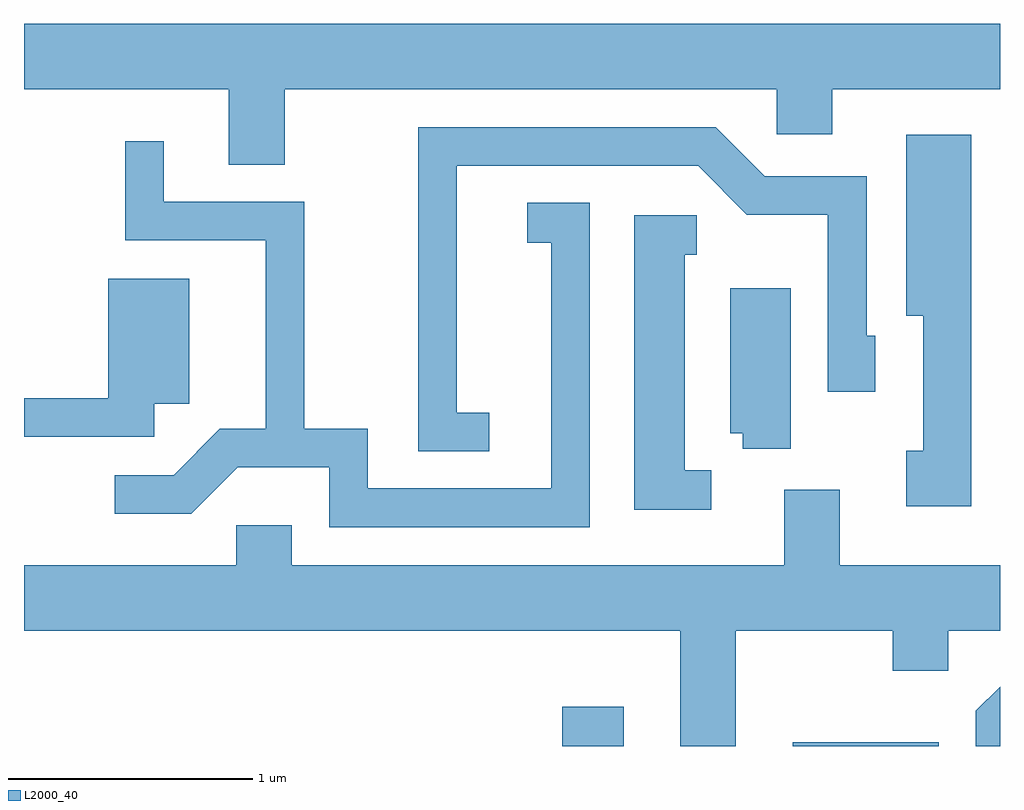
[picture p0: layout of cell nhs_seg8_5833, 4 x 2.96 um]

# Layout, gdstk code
import gdstk
lib = gdstk.Library(unit=1e-6, precision=1e-09)
def R(c, l, rs):  # rectangles x0, y0, x1, y1
    for r in rs: c.add(gdstk.rectangle(r[:2], r[2:], *l))
def P(c, l, *ps):  # polygons
    for p in ps: c.add(gdstk.Polygon(p, *l))
L2000_40 = (2000, 40)

nhs_seg8_5833 = lib.new_cell('nhs_seg8_5833')
R(nhs_seg8_5833, L2000_40, [(361.816,1880.342,362.069,1880.504), (362.761,1880.342,363.359,1880.359)])
P(nhs_seg8_5833, L2000_40, [(360.679,1883.036),(362.696,1883.036),(362.696,1882.851),(362.924,1882.851),(362.924,1883.036),(363.611,1883.036),(363.611,1883.304),(359.611,1883.304),(359.611,1883.036),(360.451,1883.036),(360.451,1882.726),(360.679,1882.726)],
  [(361.518,1881.709),(361.384,1881.709),(361.384,1882.721),(362.374,1882.721),(362.574,1882.521),(362.906,1882.521),(362.906,1881.796),(363.099,1881.796),(363.099,1882.024),(363.064,1882.024),(363.064,1882.679),(362.647,1882.679),(362.447,1882.879),(361.226,1882.879),(361.226,1881.551),(361.518,1881.551)],
  [(363.494,1882.849),(363.226,1882.849),(363.226,1882.106),(363.296,1882.106),(363.296,1881.554),(363.226,1881.554),(363.226,1881.326),(363.494,1881.326)],
  [(361.929,1882.569),(361.673,1882.569),(361.673,1882.406),(361.771,1882.406),(361.771,1881.399),(361.019,1881.399),(361.019,1881.644),(360.759,1881.644),(360.759,1882.574),(360.184,1882.574),(360.184,1882.823),(360.026,1882.823),(360.026,1882.416),(360.601,1882.416),(360.601,1881.644),(360.414,1881.644),(360.224,1881.454),(359.983,1881.454),(359.983,1881.296),(360.297,1881.296),(360.487,1881.486),(360.861,1881.486),(360.861,1881.241),(361.929,1881.241)],
  [(362.428,1881.474),(362.319,1881.474),(362.319,1882.356),(362.368,1882.356),(362.368,1882.519),(362.111,1882.519),(362.111,1881.311),(362.428,1881.311)],
  [(360.144,1881.746),(360.289,1881.746),(360.289,1882.259),(359.956,1882.259),(359.956,1881.769),(359.611,1881.769),(359.611,1881.611),(360.144,1881.611)],
  [(362.754,1882.219),(362.506,1882.219),(362.506,1881.626),(362.556,1881.626),(362.556,1881.561),(362.754,1881.561)],
  [(362.529,1880.816),(363.171,1880.816),(363.171,1880.651),(363.399,1880.651),(363.399,1880.816),(363.611,1880.816),(363.611,1881.084),(362.954,1881.084),(362.954,1881.394),(362.726,1881.394),(362.726,1881.084),(360.709,1881.084),(360.709,1881.249),(360.481,1881.249),(360.481,1881.084),(359.611,1881.084),(359.611,1880.816),(362.301,1880.816),(362.301,1880.342),(362.529,1880.342)],
  [(363.611,1880.586),(363.511,1880.487),(363.511,1880.342),(363.611,1880.342)])

lib.write_gds('nhs_seg8_5833.gds')
